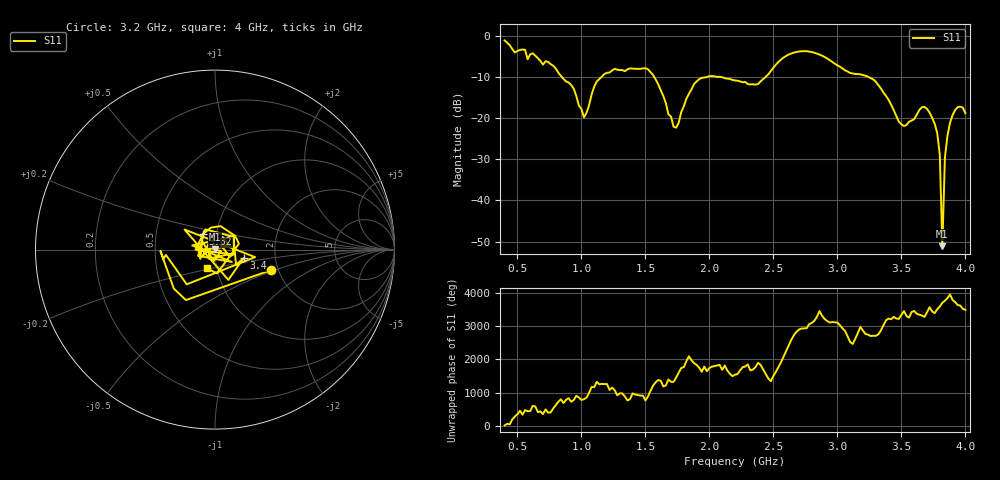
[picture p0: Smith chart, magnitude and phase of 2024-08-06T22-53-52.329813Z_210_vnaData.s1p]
!Created with skrf (http://scikit-rf.org).
# Hz S RI R 50.0
!freq ReS11 ImS11
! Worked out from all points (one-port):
!   181 points, 400 MHz to 4 GHz, reference 50 ohm
!   lowest |S11| = -51.1 dB at 3.82 GHz (marker M1), VSWR 1.01, Z = 50 + j0.275 ohm
!   |S11| at or under -10 dB: 1.568 GHz to 1.987 GHz (419.6 MHz wide, 23.6 % of centre); 2.054 GHz to 2.441 GHz (387.6 MHz wide, 17.2 % of centre); 3.239 GHz to end of sweep (the widest 3 of 4)
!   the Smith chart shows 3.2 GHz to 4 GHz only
!   S11 on the Smith chart (normalised r, x): 3.2 GHz: 1.82, -0.47; 3.4 GHz: 1.37, -0.13; 3.62 GHz: 0.86, +0.15; 4 GHz: 0.89, -0.19
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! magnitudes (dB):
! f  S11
! 400 MHz  -1.2
! 860 MHz  -10.5
! 940 MHz  -12.9
! 1.02 GHz  -19.9
! 1.12 GHz  -11.2
! 1.3 GHz  -8.4
! 1.52 GHz  -8.2
! 1.6 GHz  -11.8
! 1.72 GHz  -22.1
! 1.76 GHz  -21.2
! 1.92 GHz  -10.6
! 2.2 GHz  -10.9
! 2.38 GHz  -11.8
! 2.66 GHz  -4.1
! 3.1 GHz  -9.1
! 3.2 GHz  -9.6
! 3.4 GHz  -15.6
! 3.48 GHz  -20.9
! 3.56 GHz  -20.9
! 3.62 GHz  -19.2
! 3.7 GHz  -17.8
! 3.78 GHz  -23.7
! 3.8 GHz  -28.9
! 3.82 GHz  -51.1
! 3.84 GHz  -29.6
! 3.86 GHz  -24.3
! 3.92 GHz  -18.1
! 4 GHz  -18.9
